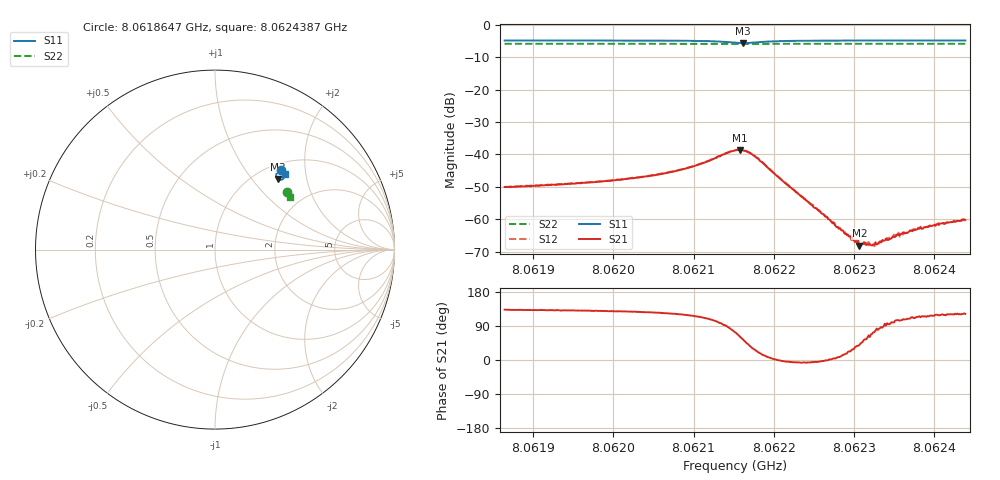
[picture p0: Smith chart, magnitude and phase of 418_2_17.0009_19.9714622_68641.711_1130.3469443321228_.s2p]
#  HZ  S  RI  R  50.00
! Rohde & Schwarz Vector Network Analyzer
! Rohde-Schwarz,ZNB20-2Port,1311601062101988,3.16
! Created: UTC 3/20/2024, 11:10:50 PM
! freq[Hz]  re:S11  im:S11  re:S21  im:S21  re:S12  im:S12  re:S22  im:S22
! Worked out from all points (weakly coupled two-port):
!   401 points, 8.0618647 GHz to 8.0624387 GHz, reference 50 ohm
!   highest |S21| = -38.60 dB at 8.0621574 GHz (marker M1); lowest = -68.1 dB at 8.0623067 GHz (marker M2)
!   lowest |S11| = -5.6 dB at 8.0621617 GHz (marker M3), VSWR 3.22, Z = 62.5 + j68 ohm
!   |S11| at or under -10 dB: nowhere
!   |S22| runs from -5.9 to -5.8 dB; largest |S21 - S12| = 0.00082
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8.06186467e9  0.3684 0.4429  -0.00213 0.0023  -0.00199 0.00245  0.4 0.3199
8.06196083e9  0.3752 0.4367  -0.00234 0.00276  -0.0022 0.00293  0.4036 0.3149
8.06201105e9  0.3791 0.4324  -0.00254 0.00321  -0.00235 0.00339  0.4054 0.3124
8.06205698e9  0.3833 0.4268  -0.00281 0.00403  -0.00256 0.00425  0.407 0.3099
8.0620986e9  0.3871 0.4172  -0.00291 0.00578  -0.00259 0.006  0.4085 0.3074
8.0621517e9  0.3647 0.388  0.00339 0.011  0.00401 0.0109  0.409 0.304
8.06215744e9  0.3554 0.3894  0.00542 0.0104  0.0061 0.0103  0.4087 0.3038
8.06216174e9  0.3488 0.3932  0.00685 0.00936  0.00743 0.00891  0.4086 0.3039
8.06216892e9  0.3414 0.4032  0.00823 0.00687  0.0087 0.00643  0.4087 0.3041
8.06217896e9  0.3408 0.4181  0.00814 0.00353  0.00828 0.00307  0.4092 0.3043
8.06224785e9  0.3716 0.4346  0.00163 -0.000143  0.00167 -0.000252  0.413 0.3012
8.06229377e9  0.3794 0.4316  0.000496 0.000209  0.000504 0.000153  0.415 0.2989
8.06230095e9  0.3801 0.431  0.000371 0.000245  0.000436 0.00023  0.4154 0.2984
8.06230669e9  0.381 0.4307  0.000301 0.000251  0.000325 0.000285  0.4153 0.298
8.0623153e9  0.3818 0.43  0.000231 0.000327  0.000281 0.000374  0.4157 0.2977
8.06231961e9  0.3822 0.4296  0.000203 0.00036  0.000166 0.00036  0.4159 0.2975
8.06232678e9  0.383 0.4291  9.27e-05 0.00043  0.000122 0.000407  0.4162 0.2971
8.062344e9  0.3847 0.4281  -3.48e-05 0.000488  -6.48e-05 0.000514  0.4168 0.2962
8.06235261e9  0.3855 0.4275  -0.000144 0.000535  -8.4e-05 0.000571  0.4172 0.2958
8.06235836e9  0.3859 0.4272  -0.000152 0.00057  -0.000128 0.00054  0.4172 0.2955
8.06237988e9  0.3877 0.4259  -0.000288 0.000658  -0.000231 0.000703  0.418 0.2943
8.06243872e9  0.392 0.4224  -0.000512 0.000833  -0.000457 0.000854  0.4201 0.2911
